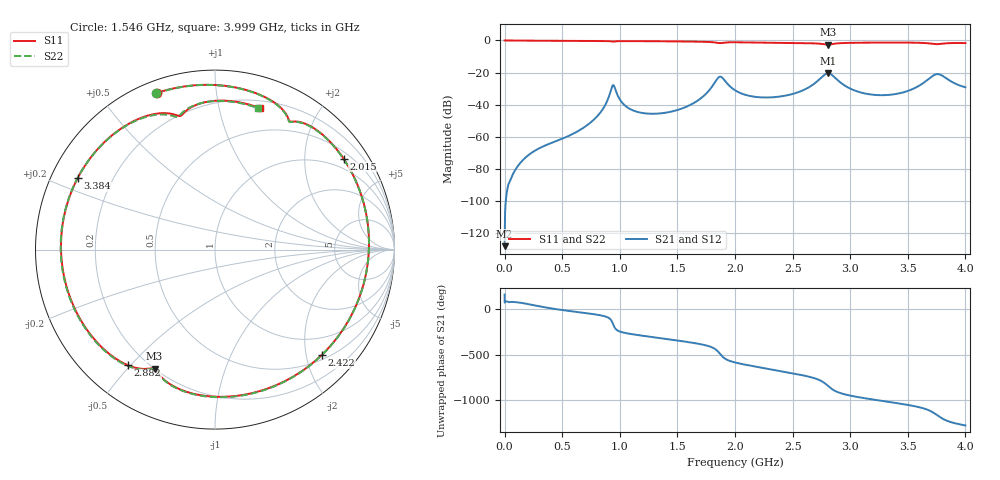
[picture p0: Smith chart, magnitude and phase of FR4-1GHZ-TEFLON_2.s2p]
! TOUCHSTONE file generated by CST MICROWAVE STUDIO
! Date and time: Thu Oct 30 13:39:44 2025
! Project name: ResonadorAnillo_PadsGndDesplazados_AnchoPistaPin.cst
! Parameters = {T_teflom=1.52; Eeff=3.2262; Er=4.3; H=1.56; L1=41.7557; L2=41.7557; L_Ang=8.68; L_AngTrans=1; L_Base=6.5; L_PadGND=4; L_Pin=4; L_conn=4; L_sma=8.5; Landa=167.023; R_Diel=2.08; R_Pin=0.45; R_sma=2.58; T=0.035; W=2.6; W_Base=1.5; W_PadGND=1.8; W_PistaPin=2.5; W_conn=0.9; Wa=2.6; X=70; 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
! Header version: 2024
! Port assignment regex: !\s*Touchstone port\s*([0-9]+)\s*=\s*(CST MWS port|CST DES external port|CST DES block port)\s*(.+)\s* \(\"(.*)\"\)(\s*mode\s*([0-9]+))?.*
! Touchstone port assignment:
! Touchstone port 1 = CST MWS port 1 ("")
! Touchstone port 2 = CST MWS port 2 ("")
# GHz S MA R 62.45
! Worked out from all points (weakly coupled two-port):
!   5000 points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, 800 kHz to 4 GHz, reference 62.45 ohm
!   highest |S21| = -20.39 dB at 2.808 GHz (marker M1); lowest = -128.0 dB at 800 kHz (marker M2)
!   lowest |S11| = -2.6 dB at 2.805 GHz (marker M3), VSWR 6.79, Z = 12.5 - j37.2 ohm
!   |S11| at or under -10 dB: nowhere
!   |S22| runs from -2.6 to 0.0 dB; largest |S21 - S12| = 1e-10
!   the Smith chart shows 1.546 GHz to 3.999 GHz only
!   S11 on the Smith chart (normalised r, x): 1.546 GHz: 0.05, +0.69; 2.015 GHz: 0.68, +3.01; 2.422 GHz: 0.59, -2.31; 2.882 GHz: 0.13, -0.49; 3.384 GHz: 0.08, +0.24; 3.999 GHz: 0.27, +1.33
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0.0008  0.9999 -0.2  3.966e-07 164.5  3.966e-07 164.5  0.9999 -0.2
0.3472  0.9777 -65.8  0.0005274 24.5  0.0005274 24.5  0.9778 -65.9
0.668  0.9652 -120.5  0.001752 -33.4  0.001752 -33.4  0.9654 -120.4
0.8344  0.9602 -146.6  0.005871 -64.7  0.005871 -64.7  0.9604 -146.3
0.9424  0.9168 -162.4  0.0409 -161.6  0.0409 -161.6  0.9185 -162.0
1.0816  0.9538 177.9  0.007619 93.5  0.007619 93.5  0.9541 178.3
1.3344  0.9447 141.5  0.005309 47.2  0.005309 47.2  0.9447 142.0
1.5456  0.9307 110.4  0.007771 10.3  0.007771 10.3  0.9304 110.8
1.8656  0.8278 60.0  0.07392 -121.2  0.07392 -121.2  0.824 60.0
2.0008  0.8782 38.0  0.02819 136.7  0.02819 136.7  0.8771 37.8
2.0152  0.8774 35.3  0.02627 132.2  0.02627 132.2  0.8763 35.0
2.2168  0.8553 -3.4  0.01703 82.6  0.01703 82.6  0.855 -4.0
2.4224  0.8354 -44.6  0.01873 35.9  0.01873 35.9  0.8364 -45.3
2.6672  0.8167 -94.0  0.03986 -28.3  0.03986 -28.3  0.8189 -94.3
2.8048  0.7434 -116.9  0.09546 -117.8  0.09546 -117.8  0.7447 -116.8
2.808  0.7436 -117.1  0.09559 -121.3  0.09559 -121.3  0.745 -117.0
2.8816  0.8067 -127.1  0.06267 175.6  0.06267 175.6  0.8092 -126.7
3.3336  0.8624 159.7  0.02022 62.7  0.02022 62.7  0.8634 161.1
3.384  0.8627 152.5  0.02122 53.1  0.02122 53.1  0.8635 153.9
3.7528  0.7692 104.6  0.08942 -81.8  0.08942 -81.8  0.7684 105.8
3.9992  0.8272 72.4  0.03501 163.4  0.03501 163.4  0.8235 73.0
4  0.8271 72.3  0.03495 163.2  0.03495 163.2  0.8234 72.9
